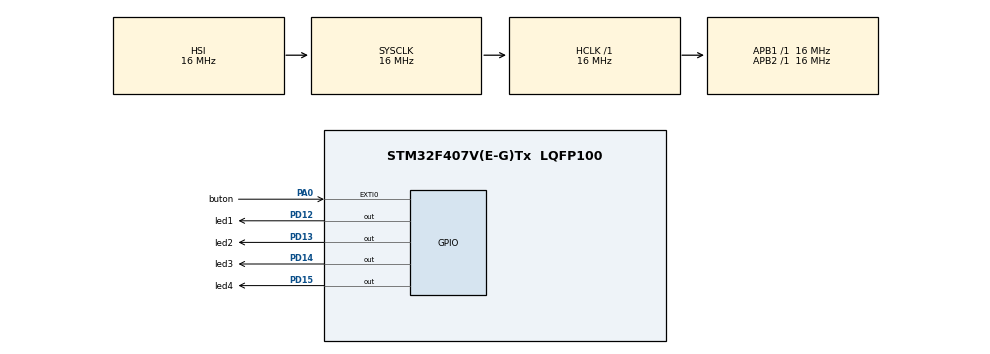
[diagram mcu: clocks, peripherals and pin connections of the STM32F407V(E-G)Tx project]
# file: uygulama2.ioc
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Mcu.Family=STM32F4
Mcu.Name=STM32F407V(E-G)Tx
Mcu.Package=LQFP100
NVIC.EXTI0_IRQn=true\:0\:0\:false\:false\:true\:true
NVIC.PriorityGroup=NVIC_PRIORITYGROUP_4
PA0-WKUP.GPIO_Label=buton
PA0-WKUP.Signal=GPXTI0
PD12.GPIO_Label=led1
PD12.Signal=GPIO_Output
PD13.GPIO_Label=led2
PD13.Signal=GPIO_Output
PD14.GPIO_Label=led3
PD14.Signal=GPIO_Output
PD15.GPIO_Label=led4
PD15.Signal=GPIO_Output
ProjectManager.HeapSize=0x200
ProjectManager.StackSize=0x400
ProjectManager.TargetToolchain=MDK-ARM V5
RCC.AHBFreq_Value=16000000
RCC.APB1Freq_Value=16000000
RCC.APB2Freq_Value=16000000
RCC.CortexFreq_Value=16000000
RCC.HSE_VALUE=25000000
RCC.HSI_VALUE=16000000
RCC.LSE_VALUE=32768
RCC.SYSCLKFreq_VALUE=16000000
RCC.VCOOutputFreq_Value=192000000
board=uygulama2

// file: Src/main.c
/**
  ******************************************************************************
  * @file           : main.c
  * @brief          : Main program body
  ******************************************************************************
  ** This notice applies to any and all portions of this file
  * that are not between comment pairs USER CODE BEGIN and
  * USER CODE END. Other portions of this file, whether
  * inserted by the user or by software development tools
  * are owned by their respective copyright owners.
  *
  * COPYRIGHT(c) 2018 STMicroelectronics
  *
  * Redistribution and use in source and binary forms, with or without modification,
  * are permitted provided that the following conditions are met:
  *   1. Redistributions of source code must retain the above copyright notice,
  *      this list of conditions and the following disclaimer.
  *   2. Redistributions in binary form must reproduce the above copyright notice,
  *      this list of conditions and the following disclaimer in the documentation
  *      and/or other materials provided with the distribution.
  *   3. Neither the name of STMicroelectronics nor the names of its contributors
  *      may be used to endorse or promote products derived from this software
  *      without specific prior written permission.
  *
  * THIS SOFTWARE IS PROVIDED BY THE COPYRIGHT HOLDERS AND CONTRIBUTORS "AS IS"
  * AND ANY EXPRESS OR IMPLIED WARRANTIES, INCLUDING, BUT NOT LIMITED TO, THE
  * IMPLIED WARRANTIES OF MERCHANTABILITY AND FITNESS FOR A PARTICULAR PURPOSE ARE
  * DISCLAIMED. IN NO EVENT SHALL THE COPYRIGHT HOLDER OR CONTRIBUTORS BE LIABLE
  * FOR ANY DIRECT, INDIRECT, INCIDENTAL, SPECIAL, EXEMPLARY, OR CONSEQUENTIAL
  * DAMAGES (INCLUDING, BUT NOT LIMITED TO, PROCUREMENT OF SUBSTITUTE GOODS OR
  * SERVICES; LOSS OF USE, DATA, OR PROFITS; OR BUSINESS INTERRUPTION) HOWEVER
  * CAUSED AND ON ANY THEORY OF LIABILITY, WHETHER IN CONTRACT, STRICT LIABILITY,
  * OR TORT (INCLUDING NEGLIGENCE OR OTHERWISE) ARISING IN ANY WAY OUT OF THE USE
  * OF THIS SOFTWARE, EVEN IF ADVISED OF THE POSSIBILITY OF SUCH DAMAGE.
  *
  ******************************************************************************
  */
#include "main.h"
#include "stm32f4xx_hal.h"

int durum=0;
/* USER CODE BEGIN PV */
/* Private variables ---------------------------------------------------------*/

/* USER CODE END PV */

void SystemClock_Config(void);
static void MX_GPIO_Init(void);

/* USER CODE BEGIN PFP */
/* Private function prototypes -----------------------------------------------*/

/* USER CODE END PFP */

/* USER CODE BEGIN 0 */
void ledYak(){
switch(durum){
	case 0:
		HAL_GPIO_WritePin(GPIOD, led1_Pin, GPIO_PIN_SET);
	HAL_GPIO_WritePin(GPIOD, led2_Pin|led3_Pin|led4_Pin, GPIO_PIN_RESET);
	break;
	case 1:
		HAL_GPIO_WritePin(GPIOD, led2_Pin, GPIO_PIN_SET);
	HAL_GPIO_WritePin(GPIOD, led1_Pin|led3_Pin|led4_Pin, GPIO_PIN_RESET);
	break;
case 2:
	HAL_GPIO_WritePin(GPIOD, led3_Pin, GPIO_PIN_SET);
HAL_GPIO_WritePin(GPIOD, led1_Pin|led2_Pin|led4_Pin, GPIO_PIN_RESET);
break;
 case 3:
	HAL_GPIO_WritePin(GPIOD, led4_Pin, GPIO_PIN_SET);
HAL_GPIO_WritePin(GPIOD, led1_Pin|led2_Pin|led3_Pin, GPIO_PIN_RESET);
break;
default:
	HAL_GPIO_WritePin(GPIOD, led1_Pin|led2_Pin|led3_Pin|led4_Pin, GPIO_PIN_RESET);
break;
}

}
void EXTI0_IRQHandler(void)
{
  /* USER CODE BEGIN EXTI0_IRQn 0 */

  /* USER CODE END EXTI0_IRQn 0 */
	durum++;
	if(durum>3){
	durum =0;}
	ledYak();

	for(int i=0;i<1000000;++i);
  HAL_GPIO_EXTI_IRQHandler(GPIO_PIN_0);
  /* USER CODE BEGIN EXTI0_IRQn 1 */

  /* USER CODE END EXTI0_IRQn 1 */

}

/* USER CODE END 0 */

int main(void)
{

  /* MCU Configuration----------------------------------------------------------*/

  /* Reset of all peripherals, Initializes the Flash interface and the Systick. */
  HAL_Init();

  /* Configure the system clock */
  SystemClock_Config();

  /* Initialize all configured peripherals */
  MX_GPIO_Init();

  /* Infinite loop */
  while (1)
  {

  }

}

void SystemClock_Config(void)
{

  RCC_OscInitTypeDef RCC_OscInitStruct;
  RCC_ClkInitTypeDef RCC_ClkInitStruct;

    /**Configure the main internal regulator output voltage
    */
  __HAL_RCC_PWR_CLK_ENABLE();

  __HAL_PWR_VOLTAGESCALING_CONFIG(PWR_REGULATOR_VOLTAGE_SCALE1);

    /**Initializes the CPU, AHB and APB busses clocks
    */
  RCC_OscInitStruct.OscillatorType = RCC_OSCILLATORTYPE_HSI;
  RCC_OscInitStruct.HSIState = RCC_HSI_ON;
  RCC_OscInitStruct.HSICalibrationValue = 16;
  RCC_OscInitStruct.PLL.PLLState = RCC_PLL_NONE;
  if (HAL_RCC_OscConfig(&RCC_OscInitStruct) != HAL_OK)
  {
    _Error_Handler(__FILE__, __LINE__);
  }

    /**Initializes the CPU, AHB and APB busses clocks
    */
  RCC_ClkInitStruct.ClockType = RCC_CLOCKTYPE_HCLK|RCC_CLOCKTYPE_SYSCLK
                              |RCC_CLOCKTYPE_PCLK1|RCC_CLOCKTYPE_PCLK2;
  RCC_ClkInitStruct.SYSCLKSource = RCC_SYSCLKSOURCE_HSI;
  RCC_ClkInitStruct.AHBCLKDivider = RCC_SYSCLK_DIV1;
  RCC_ClkInitStruct.APB1CLKDivider = RCC_HCLK_DIV1;
  RCC_ClkInitStruct.APB2CLKDivider = RCC_HCLK_DIV1;

  if (HAL_RCC_ClockConfig(&RCC_ClkInitStruct, FLASH_LATENCY_0) != HAL_OK)
  {
    _Error_Handler(__FILE__, __LINE__);
  }

    /**Configure the Systick interrupt time
    */
  HAL_SYSTICK_Config(HAL_RCC_GetHCLKFreq()/1000);

    /**Configure the Systick
    */
  HAL_SYSTICK_CLKSourceConfig(SYSTICK_CLKSOURCE_HCLK);

  /* SysTick_IRQn interrupt configuration */
  HAL_NVIC_SetPriority(SysTick_IRQn, 0, 0);
}

/** Configure pins as
        * Analog
        * Input
        * Output
        * EVENT_OUT
        * EXTI
*/
static void MX_GPIO_Init(void)
{

  GPIO_InitTypeDef GPIO_InitStruct;

  /* GPIO Ports Clock Enable */
  __HAL_RCC_GPIOA_CLK_ENABLE();
  __HAL_RCC_GPIOD_CLK_ENABLE();

  /*Configure GPIO pin Output Level */
  HAL_GPIO_WritePin(GPIOD, led1_Pin|led2_Pin|led3_Pin|led4_Pin, GPIO_PIN_RESET);

  /*Configure GPIO pin : buton_Pin */
  GPIO_InitStruct.Pin = buton_Pin;
  GPIO_InitStruct.Mode = GPIO_MODE_IT_RISING;
  GPIO_InitStruct.Pull = GPIO_NOPULL;
  HAL_GPIO_Init(buton_GPIO_Port, &GPIO_InitStruct);

  /*Configure GPIO pins : led1_Pin led2_Pin led3_Pin led4_Pin */
  GPIO_InitStruct.Pin = led1_Pin|led2_Pin|led3_Pin|led4_Pin;
  GPIO_InitStruct.Mode = GPIO_MODE_OUTPUT_PP;
  GPIO_InitStruct.Pull = GPIO_NOPULL;
  GPIO_InitStruct.Speed = GPIO_SPEED_FREQ_LOW;
  HAL_GPIO_Init(GPIOD, &GPIO_InitStruct);

  /* EXTI interrupt init*/
  HAL_NVIC_SetPriority(EXTI0_IRQn, 0, 0);
  HAL_NVIC_EnableIRQ(EXTI0_IRQn);

}

void _Error_Handler(char *file, int line)
{
  while(1)
  {
  }
}

/************************ (C) COPYRIGHT STMicroelectronics *****END OF FILE****/
